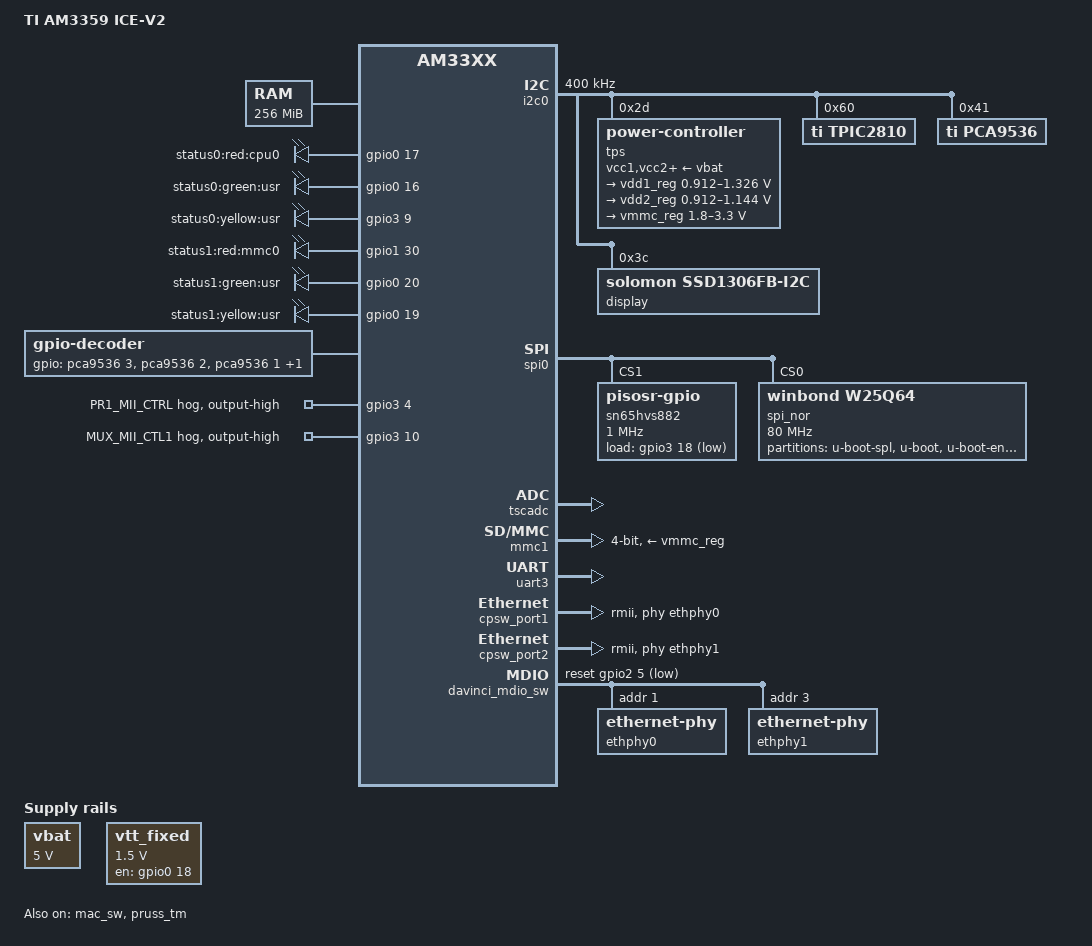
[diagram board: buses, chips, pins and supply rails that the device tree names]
// SPDX-License-Identifier: GPL-2.0-only
/*
 * Copyright (C) 2016 Texas Instruments Incorporated - https://www.ti.com/
 */

/*
 * AM335x ICE V2 board
 * https://www.ti.com/tool/tmdsice3359
 */

/dts-v1/;

#include "am33xx.dtsi"

/ {
	model = "TI AM3359 ICE-V2";
	compatible = "ti,am3359-icev2", "ti,am33xx";

	memory@80000000 {
		device_type = "memory";
		reg = <0x80000000 0x10000000>; /* 256 MB */
	};

	chosen {
		stdout-path = &uart3;
	};

	vbat: fixedregulator0 {
		compatible = "regulator-fixed";
		regulator-name = "vbat";
		regulator-min-microvolt = <5000000>;
		regulator-max-microvolt = <5000000>;
		regulator-boot-on;
	};

	vtt_fixed: fixedregulator1 {
		compatible = "regulator-fixed";
		regulator-name = "vtt";
		regulator-min-microvolt = <1500000>;
		regulator-max-microvolt = <1500000>;
		gpio = <&gpio0 18 GPIO_ACTIVE_HIGH>;
		regulator-always-on;
		regulator-boot-on;
		enable-active-high;
	};

	leds-iio {
		status = "disabled";
		compatible = "gpio-leds";
		led-out0 {
			label = "out0";
			gpios = <&tpic2810 0 GPIO_ACTIVE_HIGH>;
			default-state = "off";
		};

		led-out1 {
			label = "out1";
			gpios = <&tpic2810 1 GPIO_ACTIVE_HIGH>;
			default-state = "off";
		};

		led-out2 {
			label = "out2";
			gpios = <&tpic2810 2 GPIO_ACTIVE_HIGH>;
			default-state = "off";
		};

		led-out3 {
			label = "out3";
			gpios = <&tpic2810 3 GPIO_ACTIVE_HIGH>;
			default-state = "off";
		};

		led-out4 {
			label = "out4";
			gpios = <&tpic2810 4 GPIO_ACTIVE_HIGH>;
			default-state = "off";
		};

		led-out5 {
			label = "out5";
			gpios = <&tpic2810 5 GPIO_ACTIVE_HIGH>;
			default-state = "off";
		};

		led-out6 {
			label = "out6";
			gpios = <&tpic2810 6 GPIO_ACTIVE_HIGH>;
			default-state = "off";
		};

		led-out7 {
			label = "out7";
			gpios = <&tpic2810 7 GPIO_ACTIVE_HIGH>;
			default-state = "off";
		};
	};

	/* Tricolor status LEDs */
	leds1 {
		compatible = "gpio-leds";
		pinctrl-names = "default";
		pinctrl-0 = <&user_leds>;

		led0 {
			label = "status0:red:cpu0";
			gpios = <&gpio0 17 GPIO_ACTIVE_HIGH>;
			default-state = "off";
			linux,default-trigger = "cpu0";
		};

		led1 {
			label = "status0:green:usr";
			gpios = <&gpio0 16 GPIO_ACTIVE_HIGH>;
			default-state = "off";
		};

		led2 {
			label = "status0:yellow:usr";
			gpios = <&gpio3 9 GPIO_ACTIVE_HIGH>;
			default-state = "off";
		};

		led3 {
			label = "status1:red:mmc0";
			gpios = <&gpio1 30 GPIO_ACTIVE_HIGH>;
			default-state = "off";
			linux,default-trigger = "mmc0";
		};

		led4 {
			label = "status1:green:usr";
			gpios = <&gpio0 20 GPIO_ACTIVE_HIGH>;
			default-state = "off";
		};

		led5 {
			label = "status1:yellow:usr";
			gpios = <&gpio0 19 GPIO_ACTIVE_HIGH>;
			default-state = "off";
		};
	};
	gpio-decoder {
		compatible = "gpio-decoder";
		gpios = <&pca9536 3 GPIO_ACTIVE_HIGH>,
			<&pca9536 2 GPIO_ACTIVE_HIGH>,
			<&pca9536 1 GPIO_ACTIVE_HIGH>,
			<&pca9536 0 GPIO_ACTIVE_HIGH>;
		linux,axis = <0>; /* ABS_X */
		decoder-max-value = <9>;
	};
};

&am33xx_pinmux {
	user_leds: user-leds-pins {
		pinctrl-single,pins = <
			AM33XX_PADCONF(AM335X_PIN_MII1_TXD3, PIN_OUTPUT, MUX_MODE7) /* (J18) gmii1_txd3.gpio0[16] */
			AM33XX_PADCONF(AM335X_PIN_MII1_TXD2, PIN_OUTPUT, MUX_MODE7) /* (K15) gmii1_txd2.gpio0[17] */
			AM33XX_PADCONF(AM335X_PIN_XDMA_EVENT_INTR0, PIN_OUTPUT, MUX_MODE7) /* (A15) xdma_event_intr0.gpio0[19] */
			AM33XX_PADCONF(AM335X_PIN_XDMA_EVENT_INTR1, PIN_OUTPUT, MUX_MODE7) /* (D14) xdma_event_intr1.gpio0[20] */
			AM33XX_PADCONF(AM335X_PIN_GPMC_CSN1, PIN_OUTPUT, MUX_MODE7) /* (U9) gpmc_csn1.gpio1[30] */
			AM33XX_PADCONF(AM335X_PIN_MII1_TX_CLK, PIN_OUTPUT, MUX_MODE7) /* (K18) gmii1_txclk.gpio3[9] */
		>;
	};

	mmc0_pins_default: mmc0-default-pins {
		pinctrl-single,pins = <
			AM33XX_PADCONF(AM335X_PIN_MMC0_DAT3, PIN_INPUT_PULLUP, MUX_MODE0)
			AM33XX_PADCONF(AM335X_PIN_MMC0_DAT2, PIN_INPUT_PULLUP, MUX_MODE0)
			AM33XX_PADCONF(AM335X_PIN_MMC0_DAT1, PIN_INPUT_PULLUP, MUX_MODE0)
			AM33XX_PADCONF(AM335X_PIN_MMC0_DAT0, PIN_INPUT_PULLUP, MUX_MODE0)
			AM33XX_PADCONF(AM335X_PIN_MMC0_CLK, PIN_INPUT_PULLUP, MUX_MODE0)
			AM33XX_PADCONF(AM335X_PIN_MMC0_CMD, PIN_INPUT_PULLUP, MUX_MODE0)
		>;
	};

	i2c0_pins_default: i2c0-default-pins {
		pinctrl-single,pins = <
			AM33XX_PADCONF(AM335X_PIN_I2C0_SDA, PIN_INPUT, MUX_MODE0)
			AM33XX_PADCONF(AM335X_PIN_I2C0_SCL, PIN_INPUT, MUX_MODE0)
		>;
	};

	spi0_pins_default: spi0-default-pins {
		pinctrl-single,pins = <
			AM33XX_PADCONF(AM335X_PIN_SPI0_SCLK, PIN_INPUT_PULLUP, MUX_MODE0)
			AM33XX_PADCONF(AM335X_PIN_SPI0_D0, PIN_INPUT_PULLUP, MUX_MODE0)
			AM33XX_PADCONF(AM335X_PIN_SPI0_D1, PIN_INPUT_PULLUP, MUX_MODE0)
			AM33XX_PADCONF(AM335X_PIN_SPI0_CS0, PIN_INPUT_PULLUP, MUX_MODE0)
			AM33XX_PADCONF(AM335X_PIN_SPI0_CS1, PIN_INPUT_PULLUP, MUX_MODE0)
			AM33XX_PADCONF(AM335X_PIN_MCASP0_ACLKR, PIN_INPUT_PULLUP, MUX_MODE7) /* (B12) mcasp0_aclkr.gpio3[18] */
		>;
	};

	uart3_pins_default: uart3-default-pins {
		pinctrl-single,pins = <
			AM33XX_PADCONF(AM335X_PIN_MII1_RXD3, PIN_INPUT_PULLUP, MUX_MODE1) /* (L17) gmii1_rxd3.uart3_rxd */
			AM33XX_PADCONF(AM335X_PIN_MII1_RXD2, PIN_OUTPUT_PULLUP, MUX_MODE1) /* (L16) gmii1_rxd2.uart3_txd */
		>;
	};

	cpsw_default: cpsw-default-pins {
		pinctrl-single,pins = <
			/* Slave 1, RMII mode */
			AM33XX_PADCONF(AM335X_PIN_MII1_CRS, PIN_INPUT_PULLUP, MUX_MODE1)	/* mii1_crs.rmii1_crs_dv */
			AM33XX_PADCONF(AM335X_PIN_RMII1_REF_CLK, PIN_INPUT_PULLUP, MUX_MODE0)
			AM33XX_PADCONF(AM335X_PIN_MII1_RXD0, PIN_INPUT_PULLUP, MUX_MODE1)
			AM33XX_PADCONF(AM335X_PIN_MII1_RXD1, PIN_INPUT_PULLUP, MUX_MODE1)
			AM33XX_PADCONF(AM335X_PIN_MII1_RX_ER, PIN_INPUT_PULLUP, MUX_MODE1)	/* mii1_rxerr.rmii1_rxerr */
			AM33XX_PADCONF(AM335X_PIN_MII1_TXD0, PIN_OUTPUT_PULLDOWN, MUX_MODE1)	/* mii1_txd0.rmii1_txd0 */
			AM33XX_PADCONF(AM335X_PIN_MII1_TXD1, PIN_OUTPUT_PULLDOWN, MUX_MODE1)	/* mii1_txd1.rmii1_txd1 */
			AM33XX_PADCONF(AM335X_PIN_MII1_TX_EN, PIN_OUTPUT_PULLDOWN, MUX_MODE1)	/* mii1_txen.rmii1_txen */
			/* Slave 2, RMII mode */
			AM33XX_PADCONF(AM335X_PIN_GPMC_WAIT0, PIN_INPUT_PULLUP, MUX_MODE3)	/* gpmc_wait0.rmii2_crs_dv */
			AM33XX_PADCONF(AM335X_PIN_MII1_COL, PIN_INPUT_PULLUP, MUX_MODE1)	/* mii1_col.rmii2_refclk */
			AM33XX_PADCONF(AM335X_PIN_GPMC_A11, PIN_INPUT_PULLUP, MUX_MODE3)	/* gpmc_a11.rmii2_rxd0 */
			AM33XX_PADCONF(AM335X_PIN_GPMC_A10, PIN_INPUT_PULLUP, MUX_MODE3)	/* gpmc_a10.rmii2_rxd1 */
			AM33XX_PADCONF(AM335X_PIN_GPMC_WPN, PIN_INPUT_PULLUP, MUX_MODE3)	/* gpmc_wpn.rmii2_rxerr */
			AM33XX_PADCONF(AM335X_PIN_GPMC_A5, PIN_OUTPUT_PULLDOWN, MUX_MODE3)	/* gpmc_a5.rmii2_txd0 */
			AM33XX_PADCONF(AM335X_PIN_GPMC_A4, PIN_OUTPUT_PULLDOWN, MUX_MODE3)	/* gpmc_a4.rmii2_txd1 */
			AM33XX_PADCONF(AM335X_PIN_GPMC_A0, PIN_OUTPUT_PULLDOWN, MUX_MODE3)	/* gpmc_a0.rmii2_txen */
		>;
	};

	cpsw_sleep: cpsw-sleep-pins {
		pinctrl-single,pins = <
			/* Slave 1 reset value */
			AM33XX_PADCONF(AM335X_PIN_MII1_CRS, PIN_INPUT_PULLDOWN, MUX_MODE7)
			AM33XX_PADCONF(AM335X_PIN_RMII1_REF_CLK, PIN_INPUT_PULLDOWN, MUX_MODE7)
			AM33XX_PADCONF(AM335X_PIN_MII1_RXD0, PIN_INPUT_PULLDOWN, MUX_MODE7)
			AM33XX_PADCONF(AM335X_PIN_MII1_RXD1, PIN_INPUT_PULLDOWN, MUX_MODE7)
			AM33XX_PADCONF(AM335X_PIN_MII1_RX_ER, PIN_INPUT_PULLDOWN, MUX_MODE7)
			AM33XX_PADCONF(AM335X_PIN_MII1_TXD0, PIN_INPUT_PULLDOWN, MUX_MODE7)
			AM33XX_PADCONF(AM335X_PIN_MII1_TXD1, PIN_INPUT_PULLDOWN, MUX_MODE7)
			AM33XX_PADCONF(AM335X_PIN_MII1_TX_EN, PIN_INPUT_PULLDOWN, MUX_MODE7)

			/* Slave 2 reset value */
			AM33XX_PADCONF(AM335X_PIN_GPMC_WAIT0, PIN_INPUT_PULLDOWN, MUX_MODE7)
			AM33XX_PADCONF(AM335X_PIN_MII1_COL, PIN_INPUT_PULLDOWN, MUX_MODE7)
			AM33XX_PADCONF(AM335X_PIN_GPMC_A11, PIN_INPUT_PULLDOWN, MUX_MODE7)
			AM33XX_PADCONF(AM335X_PIN_GPMC_A10, PIN_INPUT_PULLDOWN, MUX_MODE7)
			AM33XX_PADCONF(AM335X_PIN_GPMC_WPN, PIN_INPUT_PULLDOWN, MUX_MODE7)
			AM33XX_PADCONF(AM335X_PIN_GPMC_A5, PIN_INPUT_PULLDOWN, MUX_MODE7)
			AM33XX_PADCONF(AM335X_PIN_GPMC_A4, PIN_INPUT_PULLDOWN, MUX_MODE7)
			AM33XX_PADCONF(AM335X_PIN_GPMC_A0, PIN_INPUT_PULLDOWN, MUX_MODE7)
		>;
	};

	davinci_mdio_default: davinci-mdio-default-pins {
		pinctrl-single,pins = <
			/* MDIO */
			AM33XX_PADCONF(AM335X_PIN_MDIO, PIN_INPUT_PULLUP | SLEWCTRL_FAST, MUX_MODE0)
			AM33XX_PADCONF(AM335X_PIN_MDC, PIN_OUTPUT_PULLUP, MUX_MODE0)
		>;
	};

	davinci_mdio_sleep: davinci-mdio-sleep-pins {
		pinctrl-single,pins = <
			/* MDIO reset value */
			AM33XX_PADCONF(AM335X_PIN_MDIO, PIN_INPUT_PULLDOWN, MUX_MODE7)
			AM33XX_PADCONF(AM335X_PIN_MDC, PIN_INPUT_PULLDOWN, MUX_MODE7)
		>;
	};
};

&i2c0 {
	pinctrl-names = "default";
	pinctrl-0 = <&i2c0_pins_default>;

	status = "okay";
	clock-frequency = <400000>;

	tps: power-controller@2d {
		reg = <0x2d>;
	};

	tpic2810: gpio@60 {
		compatible = "ti,tpic2810";
		reg = <0x60>;
		gpio-controller;
		#gpio-cells = <2>;
	};

	pca9536: gpio@41 {
		compatible = "ti,pca9536";
		reg = <0x41>;
		gpio-controller;
		#gpio-cells = <2>;
	};

	/* osd9616p0899-10 */
	display@3c {
		compatible = "solomon,ssd1306fb-i2c";
		reg = <0x3c>;
		solomon,height = <16>;
		solomon,width = <96>;
		solomon,com-seq;
		solomon,com-invdir;
		solomon,page-offset = <0>;
		solomon,prechargep1 = <2>;
		solomon,prechargep2 = <13>;
	};
};

&spi0 {
	status = "okay";
	pinctrl-names = "default";
	pinctrl-0 = <&spi0_pins_default>;

	sn65hvs882@1 {
		compatible = "pisosr-gpio";
		gpio-controller;
		#gpio-cells = <2>;

		load-gpios = <&gpio3 18 GPIO_ACTIVE_LOW>;

		reg = <1>;
		spi-max-frequency = <1000000>;
		spi-cpol;
	};

	spi_nor: flash@0 {
		#address-cells = <1>;
		#size-cells = <1>;
		compatible = "winbond,w25q64", "jedec,spi-nor";
		spi-max-frequency = <80000000>;
		m25p,fast-read;
		reg = <0>;

		partition@0 {
			label = "u-boot-spl";
			reg = <0x0 0x80000>;
			read-only;
		};

		partition@1 {
			label = "u-boot";
			reg = <0x80000 0x100000>;
			read-only;
		};

		partition@2 {
			label = "u-boot-env";
			reg = <0x180000 0x20000>;
			read-only;
		};

		partition@3 {
			label = "misc";
			reg = <0x1A0000 0x660000>;
		};
	};

};

&tscadc {
	status = "okay";
	adc {
		ti,adc-channels = <1 2 3 4 5 6 7>;
	};
};

#include "../../tps65910.dtsi"

&tps {
	vcc1-supply = <&vbat>;
	vcc2-supply = <&vbat>;
	vcc3-supply = <&vbat>;
	vcc4-supply = <&vbat>;
	vcc5-supply = <&vbat>;
	vcc6-supply = <&vbat>;
	vcc7-supply = <&vbat>;
	vccio-supply = <&vbat>;

	regulators {
		vrtc_reg: regulator@0 {
			regulator-always-on;
		};

		vio_reg: regulator@1 {
			regulator-always-on;
		};

		vdd1_reg: regulator@2 {
			regulator-name = "vdd_mpu";
			regulator-min-microvolt = <912500>;
			regulator-max-microvolt = <1326000>;
			regulator-boot-on;
			regulator-always-on;
		};

		vdd2_reg: regulator@3 {
			regulator-name = "vdd_core";
			regulator-min-microvolt = <912500>;
			regulator-max-microvolt = <1144000>;
			regulator-boot-on;
			regulator-always-on;
		};

		vdd3_reg: regulator@4 {
			regulator-always-on;
		};

		vdig1_reg: regulator@5 {
			regulator-always-on;
		};

		vdig2_reg: regulator@6 {
			regulator-always-on;
		};

		vpll_reg: regulator@7 {
			regulator-always-on;
		};

		vdac_reg: regulator@8 {
			regulator-always-on;
		};

		vaux1_reg: regulator@9 {
			regulator-always-on;
		};

		vaux2_reg: regulator@10 {
			regulator-always-on;
		};

		vaux33_reg: regulator@11 {
			regulator-always-on;
		};

		vmmc_reg: regulator@12 {
			regulator-min-microvolt = <1800000>;
			regulator-max-microvolt = <3300000>;
			regulator-always-on;
		};
	};
};

&mmc1 {
	status = "okay";
	vmmc-supply = <&vmmc_reg>;
	bus-width = <4>;
	pinctrl-names = "default";
	pinctrl-0 = <&mmc0_pins_default>;
};

&gpio0_target {
	/* Do not idle the GPIO used for holding the VTT regulator */
	ti,no-reset-on-init;
	ti,no-idle-on-init;
};

&uart3 {
	pinctrl-names = "default";
	pinctrl-0 = <&uart3_pins_default>;
	status = "okay";
};

&gpio3 {
	pr1-mii-ctl-hog {
		gpio-hog;
		gpios = <4 GPIO_ACTIVE_HIGH>;
		output-high;
		line-name = "PR1_MII_CTRL";
	};

	mux-mii-hog {
		gpio-hog;
		gpios = <10 GPIO_ACTIVE_HIGH>;
		/* ETH1 mux: Low for MII-PRU, high for RMII-CPSW */
		output-high;
		line-name = "MUX_MII_CTL1";
	};
};

&cpsw_port1 {
	phy-handle = <&ethphy0>;
	phy-mode = "rmii";
	ti,dual-emac-pvid = <1>;
};

&cpsw_port2 {
	phy-handle = <&ethphy1>;
	phy-mode = "rmii";
	ti,dual-emac-pvid = <2>;
};

&mac_sw {
	pinctrl-names = "default", "sleep";
	pinctrl-0 = <&cpsw_default>;
	pinctrl-1 = <&cpsw_sleep>;
	status = "okay";
};

&davinci_mdio_sw {
	pinctrl-names = "default", "sleep";
	pinctrl-0 = <&davinci_mdio_default>;
	pinctrl-1 = <&davinci_mdio_sleep>;
	reset-gpios = <&gpio2 5 GPIO_ACTIVE_LOW>;
	reset-delay-us = <2>;   /* PHY datasheet states 1uS min */

	ethphy0: ethernet-phy@1 {
		reg = <1>;
	};

	ethphy1: ethernet-phy@3 {
		reg = <3>;
	};
};

&pruss_tm {
	status = "okay";
};

&rtc {
	system-power-controller;
};
